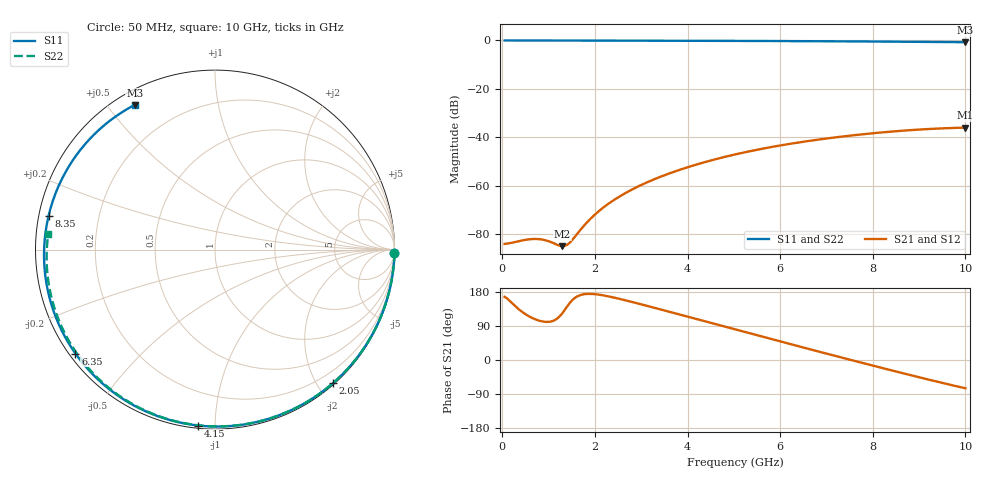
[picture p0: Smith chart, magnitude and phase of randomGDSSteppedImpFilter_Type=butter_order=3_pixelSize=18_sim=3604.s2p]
! freq	dB(S11)	phase(S11)	dB(S12)	phase(S12)
!  dB(S21)	phase(S21)	dB(S22)	phase(S22)
!S-par simulation data
#  GHz  S  DB  R 50
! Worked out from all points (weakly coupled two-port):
!   200 points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, 50 MHz to 10 GHz, reference 50 ohm
!   highest |S21| = -35.97 dB at 10 GHz (marker M1); lowest = -84.9 dB at 1.3 GHz (marker M2)
!   lowest |S11| = -0.7 dB at 10 GHz (marker M3), VSWR 24.64, Z = 2.73 + j29.4 ohm
!   |S11| at or under -10 dB: nowhere
!   |S22| runs from -0.6 to 0.0 dB; largest |S21 - S12| = 0
!   S11 on the Smith chart (normalised r, x): 50 MHz: 0, -94; 2.05 GHz: 0.02, -2.21; 4.15 GHz: 0.01, -0.91; 6.35 GHz: 0.02, -0.33; 8.35 GHz: 0.03, +0.10; 10 GHz: 0.05, +0.59
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0.05  -0.00 -1.2  -83.99 166.6  -83.99 166.6  -0.00 -1.0
0.65  -0.02 -15.7  -81.97 110.7  -81.97 110.7  -0.02 -13.5
1.3  -0.04 -31.1  -84.92 124.1  -84.92 124.1  -0.03 -26.8
1.6  -0.05 -38.2  -80.27 166.5  -80.27 166.5  -0.04 -32.8
1.75  -0.05 -41.7  -76.78 173.3  -76.78 173.3  -0.05 -35.8
2.05  -0.06 -48.6  -71.03 173.0  -71.03 173.0  -0.05 -41.8
2.35  -0.07 -55.5  -66.64 166.4  -66.64 166.4  -0.06 -47.7
2.65  -0.08 -62.4  -63.09 157.8  -63.09 157.8  -0.07 -53.6
3  -0.09 -70.2  -59.67 146.9  -59.67 146.9  -0.08 -60.3
3.4  -0.11 -79.1  -56.39 134.0  -56.39 134.0  -0.09 -67.9
4.15  -0.13 -95.5  -51.46 109.6  -51.46 109.6  -0.12 -81.7
5.05  -0.18 -115.0  -46.96 80.1  -46.96 80.1  -0.15 -97.8
5.7  -0.22 -129.0  -44.38 58.8  -44.38 58.8  -0.18 -109.2
6.35  -0.27 -143.3  -42.25 37.7  -42.25 37.7  -0.22 -120.4
6.7  -0.30 -151.2  -41.26 26.4  -41.26 26.4  -0.25 -126.4
7.55  -0.38 -171.1  -39.21 -0.6  -39.21 -0.6  -0.32 -140.9
7.95  -0.43 179.0  -38.40 -13.2  -38.40 -13.2  -0.36 -147.8
8.35  -0.48 168.6  -37.70 -25.7  -37.70 -25.7  -0.40 -154.8
8.8  -0.54 156.2  -37.04 -39.5  -37.04 -39.5  -0.45 -162.8
9.2  -0.59 144.5  -36.56 -51.6  -36.56 -51.6  -0.49 -170.1
9.6  -0.65 132.1  -36.21 -63.3  -36.21 -63.3  -0.55 -177.6
10  -0.71 119.0  -35.97 -74.6  -35.97 -74.6  -0.60 174.7
